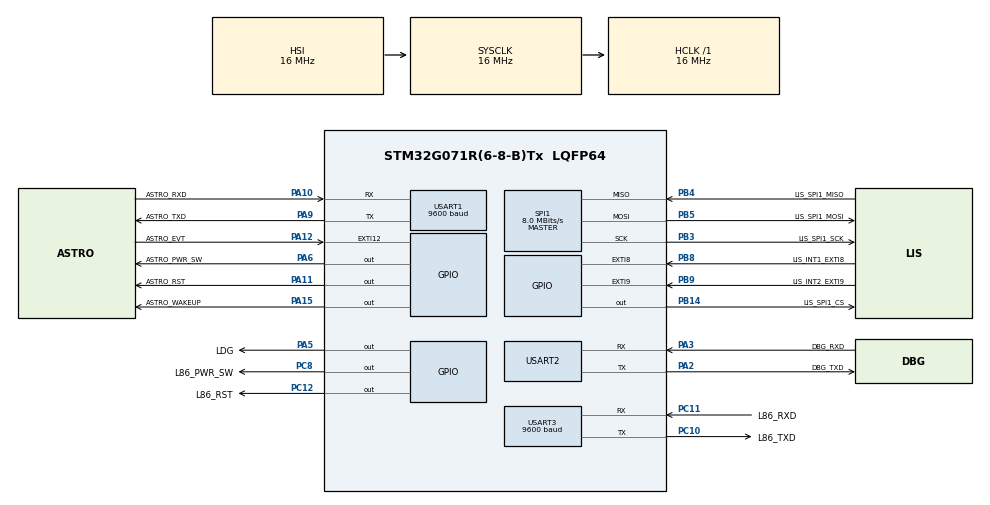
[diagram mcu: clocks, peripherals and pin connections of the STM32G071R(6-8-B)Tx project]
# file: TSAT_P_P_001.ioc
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Mcu.Family=STM32G0
Mcu.Name=STM32G071R(6-8-B)Tx
Mcu.Package=LQFP64
NVIC.EXTI4_15_IRQn=true\:1\:0\:true\:false\:true\:true\:true\:true
NVIC.TIM6_DAC_LPTIM1_IRQn=true\:0\:0\:false\:false\:true\:true\:true\:true
PA10.GPIO_Label=ASTRO_RXD
PA10.Mode=Asynchronous
PA10.Signal=USART1_RX
PA11\ [PA9].GPIO_Label=ASTRO_RST
PA11\ [PA9].Signal=GPIO_Output
PA12\ [PA10].GPIO_Label=ASTRO_EVT
PA12\ [PA10].Signal=GPXTI12
PA13.GPIO_Label=TMS
PA13.Mode=Serial_Wire
PA13.Signal=SYS_SWDIO
PA14-BOOT0.GPIO_Label=TCK
PA14-BOOT0.Mode=Serial_Wire
PA14-BOOT0.Signal=SYS_SWCLK
PA15.GPIO_Label=ASTRO_WAKEUP
PA15.Signal=GPIO_Output
PA2.GPIO_Label=DBG_TXD
PA2.GPIO_PuPd=GPIO_PULLUP
PA2.Mode=Asynchronous
PA2.Signal=USART2_TX
PA3.GPIO_Label=DBG_RXD
PA3.GPIO_PuPd=GPIO_PULLUP
PA3.Mode=Asynchronous
PA3.Signal=USART2_RX
PA5.GPIO_Label=LDG
PA5.GPIO_Speed=GPIO_SPEED_FREQ_LOW
PA5.Signal=GPIO_Output
PA6.GPIO_Label=ASTRO_PWR_SW
PA6.Signal=GPIO_Output
PA9.GPIO_Label=ASTRO_TXD
PA9.Mode=Asynchronous
PA9.Signal=USART1_TX
PB14.GPIO_Label=LIS_SPI1_CS
PB14.Signal=GPIO_Output
PB3.GPIO_Label=LIS_SPI1_SCK
PB3.Mode=Full_Duplex_Master
PB3.Signal=SPI1_SCK
PB4.GPIO_Label=LIS_SPI1_MISO
PB4.Mode=Full_Duplex_Master
PB4.Signal=SPI1_MISO
PB5.GPIO_Label=LIS_SPI1_MOSI
PB5.Mode=Full_Duplex_Master
PB5.Signal=SPI1_MOSI
PB8.GPIO_Label=LIS_INT1_EXTI8
PB8.Signal=GPXTI8
PB9.GPIO_Label=LIS_INT2_EXTI9
PB9.Signal=GPXTI9
PC10.GPIO_Label=L86_TXD
PC10.Mode=Asynchronous
PC10.Signal=USART3_TX
PC11.GPIO_Label=L86_RXD
PC11.Mode=Asynchronous
PC11.Signal=USART3_RX
PC12.GPIO_Label=L86_RST
PC12.PinState=GPIO_PIN_RESET
PC12.Signal=GPIO_Output
PC13.Mode=SYS_WakeUp1
PC13.Signal=SYS_WKUP2
PC14-OSC32_IN\ (PC14).Mode=LSE-External-Oscillator
PC14-OSC32_IN\ (PC14).Signal=RCC_OSC32_IN
PC15-OSC32_OUT\ (PC15).Mode=LSE-External-Oscillator
PC15-OSC32_OUT\ (PC15).Signal=RCC_OSC32_OUT
PC8.GPIO_Label=L86_PWR_SW
PC8.PinState=GPIO_PIN_RESET
PC8.Signal=GPIO_Output
PF0-OSC_IN\ (PF0).GPIO_Label=MCO
PF0-OSC_IN\ (PF0).Mode=HSE-External-Clock-Source
PF0-OSC_IN\ (PF0).Signal=RCC_OSC_IN
ProjectManager.HeapSize=0x200
ProjectManager.StackSize=0x400
ProjectManager.TargetToolchain=STM32CubeIDE
RCC.AHBFreq_Value=16000000
RCC.CortexFreq_Value=16000000
RCC.EXTERNAL_CLOCK_VALUE=12288000
RCC.HCLKFreq_Value=16000000
RCC.HSE_VALUE=8000000
RCC.HSI_VALUE=16000000
RCC.SYSCLKFreq_VALUE=16000000
RCC.VCOOutputFreq_Value=128000000
RTC.Alarm-Alarm\ A=RTC_ALARM_A
RTC.Date=1
RTC.Format=RTC_FORMAT_BIN
RTC.WeekDay=RTC_WEEKDAY_SATURDAY
RTC.Year=0
SPI1.CalculateBaudRate=8.0 MBits/s
SPI1.DataSize=SPI_DATASIZE_8BIT
SPI1.Direction=SPI_DIRECTION_2LINES
SPI1.Mode=SPI_MODE_MASTER
SPI1.VirtualType=VM_MASTER
TIM6.Period=1000-1
TIM6.Prescaler=16000-1
USART1.BaudRate=9600
USART1.VirtualMode-Asynchronous=VM_ASYNC
USART2.VirtualMode-Asynchronous=VM_ASYNC
USART3.BaudRate=9600
USART3.VirtualMode-Asynchronous=VM_ASYNC
VP_RTC_VS_RTC_Activate.Mode=RTC_Enabled
VP_RTC_VS_RTC_Alarm_A_Intern.Mode=Alarm A
VP_RTC_VS_RTC_Calendar.Mode=RTC_Calendar
VP_TIM6_VS_ClockSourceINT.Mode=Enable_Timer
board=NUCLEO-G071RB

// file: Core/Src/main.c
/* USER CODE BEGIN Header */
/**
  ******************************************************************************
  * @file           : main.c
  * @brief          : Main program body
  ******************************************************************************
  * @attention
  *
  * Copyright (c) 2023 STMicroelectronics.
  * All rights reserved.
  *
  * This software is licensed under terms that can be found in the LICENSE file
  * in the root directory of this software component.
  * If no LICENSE file comes with this software, it is provided AS-IS.
  *
  ******************************************************************************
  *
  ******************************************************************************
  */
/* USER CODE END Header */
#include "main.h"

/* USER CODE BEGIN PD */
#define NMEA_3D_FIX						'3'
#define NMEA_MESSAGE_SIZE				250

/* USER CODE END PD */

RTC_HandleTypeDef hrtc;

SPI_HandleTypeDef hspi1;

TIM_HandleTypeDef htim6;

UART_HandleTypeDef huart1;
UART_HandleTypeDef huart2;
UART_HandleTypeDef huart3;

/* USER CODE BEGIN PV */
char* 		hello = "\nHello TSAT_P_P_001\n\n" ;
char		dbg_buff[100] ;
char		rtc_dt_s[20] ;
uint32_t	current_ts = 0 ;

// Lx6
int32_t		astro_geo_wr_latitude ;
int32_t		astro_geo_wr_longitude ;
double		nmea_pdop_ths = PDOP_THS ;
uint16_t	my_lx6_gnss_active_time_ths = GNSS_ACTIVE_TIME_THS ; // Powinien być ten sam typ co tim_seconds // 240: 4 min.,
double 		nmea_fixed_pdop_d = 101 ;
char 		nmea_fixed_pdop_s[NMEA_FIX_PDOP_STRING_BUFF_SIZE] = {0} ; // 4 znaki wartości i kropka XX.X + '\0'
uint32_t	last_fix_ts = 0 ; // 0 timestamp (ts) is 1970.01.01 00:00:00

// TIM
uint16_t	tim_seconds = 0 ; // Powinien być ten sam typ co my_lx6_gnss_active_time_ths
uint32_t	agg_tim_gnss_seconds = 0 ;

// Astrocast
uint32_t	astro_log_loop_timer = 0 ;
uint16_t	astro_payload_id_counter = 1 ;
char		payload[ASTRONODE_APP_PAYLOAD_MAX_LEN_BYTES] = {0}; // 160 bajtów
char 		astro_payload_log[ASTRONODE_APP_PAYLOAD_MAX_LEN_BYTES+21] ; // Nagłowek + 12 + ew. znak minus + '\0'

// ACC
stmdev_ctx_t my_lis2dw12_ctx ;

// RTC
RTC_TimeTypeDef rtc_t ;
RTC_DateTypeDef rtc_d ;

// Flags
bool		is_system_already_initialized = false ; // Recognize if system has successful GNSS contact and has real time, Based on rtc settings.
bool		is_acc_int1_wkup_flag = false ;
bool		is_astro_evt_flag = false ;
bool		is_rtc_alarm_a_flag = false ;
/* USER CODE END PV */

void SystemClock_Config(void);
static void MX_GPIO_Init(void);
static void MX_USART2_UART_Init(void);
static void MX_USART1_UART_Init(void);
static void MX_USART3_UART_Init(void);
static void MX_TIM6_Init(void);
static void MX_RTC_Init(void);
static void MX_SPI1_Init(void);

int main(void)
{

  /* MCU Configuration--------------------------------------------------------*/

  /* Reset of all peripherals, Initializes the Flash interface and the Systick. */
  HAL_Init();

  /* Configure the system clock */
  SystemClock_Config();

  /* Initialize all configured peripherals */
  MX_GPIO_Init();
  MX_USART2_UART_Init();
  MX_USART1_UART_Init();
  MX_USART3_UART_Init();
  MX_TIM6_Init();
  MX_RTC_Init();
  MX_SPI1_Init();
  /* USER CODE BEGIN 2 */

  // System hello
  HAL_UART_Transmit ( &huart2 , (uint8_t*) hello , strlen (hello) , UART_TIMEOUT ) ;
  __HAL_TIM_CLEAR_IT ( &htim6 , TIM_IT_UPDATE ) ;

  // Is system initialized?
  send_debug_logs ( "Start initialization process" ) ;
  if ( ! is_system_initialized () )
  {
	  // ASTRO INIT
	  if ( !my_astro_init () )
	  {
		  HAL_NVIC_SystemReset () ;
	  }

	  // ACC INIT
	  my_lis2dw12_ctx.write_reg = my_lis2dw12_platform_write ;
	  my_lis2dw12_ctx.read_reg = my_lis2dw12_platform_read ;
	  my_lis2dw12_ctx.handle = HSPI1 ;
	  my_lis2dw12_init ( &my_lis2dw12_ctx ) ;

	  // RTC INIT
  }

  // Preparation process
  send_debug_logs ( "Start preparation process" ) ;
  while ( !enqueue_hello_payload () )
  {
	  my_lis2dw12_int1_wu_enable ( &my_lis2dw12_ctx ) ;
	  send_debug_logs ( "main.c - preparation sm: Enter STOPMode during preparation process" ) ;
	  HAL_SuspendTick () ; // Jak nie wyłączę to mnie przerwanie SysTick od razu wybudzi!!!
	  HAL_PWR_EnterSTOPMode ( PWR_LOWPOWERREGULATOR_ON , PWR_STOPENTRY_WFE ) ;
	  HAL_ResumeTick () ;
	  if ( is_acc_int1_wkup_flag )
	  {
		  send_debug_logs ( "main.c - preparation sm: lis2dw12_int1 wake up after STOPMode" ) ;
		  // Turn off next int1_wkups for the end of procedure
		  my_lis2dw12_int1_wu_disable ( &my_lis2dw12_ctx ) ;
		  is_acc_int1_wkup_flag = false ;
		  HAL_Delay ( 500 ) ; // docelowo 2000
	  }
	  my_lis2dw12_int1_wu_enable ( &my_lis2dw12_ctx ) ;
	  //break ; // Comment it later! It's only necessary for indoor test
  }
  // Ciągle w ramach preparation process otrzyaj chociaż 1 potwierdzenie wysłania wiadomosci, żeby Astro miało czas rtc do NCO
  // Poniżej zrób kod do tego

  // TEST STOP SYSTEM
  /*
  HAL_SuspendTick () ; // Jak nie wyłączę to mnie przerwanie SysTick od razu wybudzi!!!
  HAL_PWR_EnterSTOPMode ( PWR_LOWPOWERREGULATOR_ON , PWR_STOPENTRY_WFE ) ;
  HAL_ResumeTick () ;
  my_lis2dw12_int1_wu_disable ( &my_lis2dw12_ctx ) ;
  */

  /* USER CODE END 2 */

  /* Infinite loop */
  /* USER CODE BEGIN WHILE */

  // RUNNING STATE MACHINE
  while ( 1 )
  {
	  if ( is_evt_pin_high() )
	  {
		  send_debug_logs ( "main.c - running sm: is_evt_pin_high" ) ;
		  my_astro_read_evt_reg () ;
	  }
	  else
	  {
		  send_debug_logs ( "main.c - running sm: no is_evt_pin_high" ) ;
		  send_debug_logs ( "main.c - preparation sm: Enter STOPMode during preparation process" ) ;
		  HAL_SuspendTick () ; // Jak nie wyłączę to mnie przerwanie SysTick od razu wybudzi!!!
		  HAL_PWR_EnterSTOPMode ( PWR_LOWPOWERREGULATOR_ON , PWR_STOPENTRY_WFE ) ;
		  HAL_ResumeTick () ;
	  }
	  if ( is_astro_evt_flag )
	  {
		  send_debug_logs ( "main.c - running sm: is_astro_evt_flag" ) ;
		  my_astro_read_evt_reg () ;
		  is_astro_evt_flag = false ;
	  }
	  if ( is_acc_int1_wkup_flag )
	  {
		  // Turn off next int1_wkups for the end of procedure
		  my_lis2dw12_int1_wu_disable ( &my_lis2dw12_ctx ) ;
		  is_acc_int1_wkup_flag = false ;

		  send_debug_logs ( "main.c - running sm: lis2dw12_int1 wake up after STOPMode" ) ;
		  my_astro_log ();

		  my_rtc_get_dt ( &rtc_d , &rtc_t ) ;
		  current_ts = my_conv_rtc2timestamp ( &rtc_d , &rtc_t ) ;
		  /*
		  dbg_buff[0] = 0 ;
		  sprintf ( dbg_buff , "Seconds elapsed from last fix: %lu" , current_ts - last_fix_ts ) ;
		  send_debug_logs ( dbg_buff ) ;
		  */
		  if ( ( current_ts - last_fix_ts ) > SECONDS_IN_1_HOUR ) // If more than 1 hour has elapsed from last fix.
		  {
			  if ( astronode_send_rtc_rr () && !astronode_send_nco_rr () ) // If Astro's RC know time and has opportunity to contact SV
			  {
				  enqueue_payload () ;
			  }
		  }
		  // Turn on int1_wkup
		  my_astro_log ();
		  my_lis2dw12_int1_wu_enable ( &my_lis2dw12_ctx ) ;
	  }
	  if ( is_rtc_alarm_a_flag )
	  {
		  send_debug_logs ( "main.c - running sm: rtc alarm A event" ) ;
		  enqueue_payload () ;
		  my_astro_log () ;
		  my_rtc_set_alarm ( SECONDS_IN_1_HOUR ) ;
		  is_rtc_alarm_a_flag = false ;
	  }
	  //HAL_GPIO_ReadPin ( GPIOB , LIS_INT1_EXTI8_Pin ) ;
	  //dbg_buff[0] = 0 ;
	  //sprintf ( dbg_buff , "INT status on LIS_INT1_EXTI8_Pin: %d!\n" , HAL_GPIO_ReadPin ( GPIOB , LIS_INT1_EXTI8_Pin ) ) ;
	  //send_debug_logs ( dbg_buff ) ;

    /* USER CODE END WHILE */

  }
}

void SystemClock_Config(void)
{
  RCC_OscInitTypeDef RCC_OscInitStruct = {0};
  RCC_ClkInitTypeDef RCC_ClkInitStruct = {0};

  /** Configure the main internal regulator output voltage
  */
  HAL_PWREx_ControlVoltageScaling(PWR_REGULATOR_VOLTAGE_SCALE1);

  /** Initializes the RCC Oscillators according to the specified parameters
  * in the RCC_OscInitTypeDef structure.
  */
  RCC_OscInitStruct.OscillatorType = RCC_OSCILLATORTYPE_HSI|RCC_OSCILLATORTYPE_LSI;
  RCC_OscInitStruct.HSIState = RCC_HSI_ON;
  RCC_OscInitStruct.HSIDiv = RCC_HSI_DIV1;
  RCC_OscInitStruct.HSICalibrationValue = RCC_HSICALIBRATION_DEFAULT;
  RCC_OscInitStruct.LSIState = RCC_LSI_ON;
  RCC_OscInitStruct.PLL.PLLState = RCC_PLL_NONE;
  if (HAL_RCC_OscConfig(&RCC_OscInitStruct) != HAL_OK)
  {
    Error_Handler();
  }

  /** Initializes the CPU, AHB and APB buses clocks
  */
  RCC_ClkInitStruct.ClockType = RCC_CLOCKTYPE_HCLK|RCC_CLOCKTYPE_SYSCLK
                              |RCC_CLOCKTYPE_PCLK1;
  RCC_ClkInitStruct.SYSCLKSource = RCC_SYSCLKSOURCE_HSI;
  RCC_ClkInitStruct.AHBCLKDivider = RCC_SYSCLK_DIV1;
  RCC_ClkInitStruct.APB1CLKDivider = RCC_HCLK_DIV1;

  if (HAL_RCC_ClockConfig(&RCC_ClkInitStruct, FLASH_LATENCY_0) != HAL_OK)
  {
    Error_Handler();
  }
}

static void MX_RTC_Init(void)
{

  RTC_TimeTypeDef sTime = {0};
  RTC_DateTypeDef sDate = {0};
  RTC_AlarmTypeDef sAlarm = {0};

  /** Initialize RTC Only
  */
  hrtc.Instance = RTC;
  hrtc.Init.HourFormat = RTC_HOURFORMAT_24;
  hrtc.Init.AsynchPrediv = 127;
  hrtc.Init.SynchPrediv = 255;
  hrtc.Init.OutPut = RTC_OUTPUT_DISABLE;
  hrtc.Init.OutPutRemap = RTC_OUTPUT_REMAP_NONE;
  hrtc.Init.OutPutPolarity = RTC_OUTPUT_POLARITY_HIGH;
  hrtc.Init.OutPutType = RTC_OUTPUT_TYPE_OPENDRAIN;
  hrtc.Init.OutPutPullUp = RTC_OUTPUT_PULLUP_NONE;
  if (HAL_RTC_Init(&hrtc) != HAL_OK)
  {
    Error_Handler();
  }

  /** Initialize RTC and set the Time and Date
  */
  sTime.Hours = 0;
  sTime.Minutes = 0;
  sTime.Seconds = 0;
  sTime.SubSeconds = 0;
  sTime.DayLightSaving = RTC_DAYLIGHTSAVING_NONE;
  sTime.StoreOperation = RTC_STOREOPERATION_RESET;
  if (HAL_RTC_SetTime(&hrtc, &sTime, RTC_FORMAT_BIN) != HAL_OK)
  {
    Error_Handler();
  }
  sDate.WeekDay = RTC_WEEKDAY_SATURDAY;
  sDate.Month = RTC_MONTH_JANUARY;
  sDate.Date = 1;
  sDate.Year = 0;

  if (HAL_RTC_SetDate(&hrtc, &sDate, RTC_FORMAT_BIN) != HAL_OK)
  {
    Error_Handler();
  }

  /** Enable the Alarm A
  */
  sAlarm.AlarmTime.Hours = 0;
  sAlarm.AlarmTime.Minutes = 0;
  sAlarm.AlarmTime.Seconds = 0;
  sAlarm.AlarmTime.SubSeconds = 0;
  sAlarm.AlarmTime.DayLightSaving = RTC_DAYLIGHTSAVING_NONE;
  sAlarm.AlarmTime.StoreOperation = RTC_STOREOPERATION_RESET;
  sAlarm.AlarmMask = RTC_ALARMMASK_NONE;
  sAlarm.AlarmSubSecondMask = RTC_ALARMSUBSECONDMASK_ALL;
  sAlarm.AlarmDateWeekDaySel = RTC_ALARMDATEWEEKDAYSEL_DATE;
  sAlarm.AlarmDateWeekDay = 1;
  sAlarm.Alarm = RTC_ALARM_A;
  if (HAL_RTC_SetAlarm(&hrtc, &sAlarm, RTC_FORMAT_BIN) != HAL_OK)
  {
    Error_Handler();
  }

}

static void MX_SPI1_Init(void)
{

  /* SPI1 parameter configuration*/
  hspi1.Instance = SPI1;
  hspi1.Init.Mode = SPI_MODE_MASTER;
  hspi1.Init.Direction = SPI_DIRECTION_2LINES;
  hspi1.Init.DataSize = SPI_DATASIZE_8BIT;
  hspi1.Init.CLKPolarity = SPI_POLARITY_LOW;
  hspi1.Init.CLKPhase = SPI_PHASE_1EDGE;
  hspi1.Init.NSS = SPI_NSS_SOFT;
  hspi1.Init.BaudRatePrescaler = SPI_BAUDRATEPRESCALER_2;
  hspi1.Init.FirstBit = SPI_FIRSTBIT_MSB;
  hspi1.Init.TIMode = SPI_TIMODE_DISABLE;
  hspi1.Init.CRCCalculation = SPI_CRCCALCULATION_DISABLE;
  hspi1.Init.CRCPolynomial = 7;
  hspi1.Init.CRCLength = SPI_CRC_LENGTH_DATASIZE;
  hspi1.Init.NSSPMode = SPI_NSS_PULSE_ENABLE;
  if (HAL_SPI_Init(&hspi1) != HAL_OK)
  {
    Error_Handler();
  }

}

static void MX_TIM6_Init(void)
{

  TIM_MasterConfigTypeDef sMasterConfig = {0};

  htim6.Instance = TIM6;
  htim6.Init.Prescaler = 16000-1;
  htim6.Init.CounterMode = TIM_COUNTERMODE_UP;
  htim6.Init.Period = 1000-1;
  htim6.Init.AutoReloadPreload = TIM_AUTORELOAD_PRELOAD_DISABLE;
  if (HAL_TIM_Base_Init(&htim6) != HAL_OK)
  {
    Error_Handler();
  }
  sMasterConfig.MasterOutputTrigger = TIM_TRGO_RESET;
  sMasterConfig.MasterSlaveMode = TIM_MASTERSLAVEMODE_DISABLE;
  if (HAL_TIMEx_MasterConfigSynchronization(&htim6, &sMasterConfig) != HAL_OK)
  {
    Error_Handler();
  }

}

static void MX_USART1_UART_Init(void)
{

  huart1.Instance = USART1;
  huart1.Init.BaudRate = 9600;
  huart1.Init.WordLength = UART_WORDLENGTH_8B;
  huart1.Init.StopBits = UART_STOPBITS_1;
  huart1.Init.Parity = UART_PARITY_NONE;
  huart1.Init.Mode = UART_MODE_TX_RX;
  huart1.Init.HwFlowCtl = UART_HWCONTROL_NONE;
  huart1.Init.OverSampling = UART_OVERSAMPLING_16;
  huart1.Init.OneBitSampling = UART_ONE_BIT_SAMPLE_DISABLE;
  huart1.Init.ClockPrescaler = UART_PRESCALER_DIV1;
  huart1.AdvancedInit.AdvFeatureInit = UART_ADVFEATURE_NO_INIT;
  if (HAL_UART_Init(&huart1) != HAL_OK)
  {
    Error_Handler();
  }
  if (HAL_UARTEx_SetTxFifoThreshold(&huart1, UART_TXFIFO_THRESHOLD_1_8) != HAL_OK)
  {
    Error_Handler();
  }
  if (HAL_UARTEx_SetRxFifoThreshold(&huart1, UART_RXFIFO_THRESHOLD_1_8) != HAL_OK)
  {
    Error_Handler();
  }
  if (HAL_UARTEx_DisableFifoMode(&huart1) != HAL_OK)
  {
    Error_Handler();
  }

}

static void MX_USART2_UART_Init(void)
{

  huart2.Instance = USART2;
  huart2.Init.BaudRate = 115200;
  huart2.Init.WordLength = UART_WORDLENGTH_8B;
  huart2.Init.StopBits = UART_STOPBITS_1;
  huart2.Init.Parity = UART_PARITY_NONE;
  huart2.Init.Mode = UART_MODE_TX_RX;
  huart2.Init.HwFlowCtl = UART_HWCONTROL_NONE;
  huart2.Init.OverSampling = UART_OVERSAMPLING_16;
  huart2.Init.OneBitSampling = UART_ONE_BIT_SAMPLE_DISABLE;
  huart2.Init.ClockPrescaler = UART_PRESCALER_DIV1;
  huart2.AdvancedInit.AdvFeatureInit = UART_ADVFEATURE_NO_INIT;
  if (HAL_UART_Init(&huart2) != HAL_OK)
  {
    Error_Handler();
  }
  if (HAL_UARTEx_SetTxFifoThreshold(&huart2, UART_TXFIFO_THRESHOLD_1_8) != HAL_OK)
  {
    Error_Handler();
  }
  if (HAL_UARTEx_SetRxFifoThreshold(&huart2, UART_RXFIFO_THRESHOLD_1_8) != HAL_OK)
  {
    Error_Handler();
  }
  if (HAL_UARTEx_DisableFifoMode(&huart2) != HAL_OK)
  {
    Error_Handler();
  }

}

static void MX_USART3_UART_Init(void)
{

  huart3.Instance = USART3;
  huart3.Init.BaudRate = 9600;
  huart3.Init.WordLength = UART_WORDLENGTH_8B;
  huart3.Init.StopBits = UART_STOPBITS_1;
  huart3.Init.Parity = UART_PARITY_NONE;
  huart3.Init.Mode = UART_MODE_TX_RX;
  huart3.Init.HwFlowCtl = UART_HWCONTROL_NONE;
  huart3.Init.OverSampling = UART_OVERSAMPLING_16;
  huart3.Init.OneBitSampling = UART_ONE_BIT_SAMPLE_DISABLE;
  huart3.Init.ClockPrescaler = UART_PRESCALER_DIV1;
  huart3.AdvancedInit.AdvFeatureInit = UART_ADVFEATURE_NO_INIT;
  if (HAL_UART_Init(&huart3) != HAL_OK)
  {
    Error_Handler();
  }

}

static void MX_GPIO_Init(void)
{
  GPIO_InitTypeDef GPIO_InitStruct = {0};

  /* GPIO Ports Clock Enable */
  __HAL_RCC_GPIOC_CLK_ENABLE();
  __HAL_RCC_GPIOF_CLK_ENABLE();
  __HAL_RCC_GPIOA_CLK_ENABLE();
  __HAL_RCC_GPIOB_CLK_ENABLE();

  /*Configure GPIO pin Output Level */
  HAL_GPIO_WritePin(GPIOC, L86_RST_Pin|L86_PWR_SW_Pin, GPIO_PIN_RESET);

  /*Configure GPIO pin Output Level */
  HAL_GPIO_WritePin(GPIOA, LDG_Pin|ASTRO_PWR_SW_Pin|ASTRO_RST_Pin|ASTRO_WAKEUP_Pin, GPIO_PIN_RESET);

  /*Configure GPIO pin Output Level */
  HAL_GPIO_WritePin(LIS_SPI1_CS_GPIO_Port, LIS_SPI1_CS_Pin, GPIO_PIN_RESET);

  /*Configure GPIO pins : L86_RST_Pin L86_PWR_SW_Pin */
  GPIO_InitStruct.Pin = L86_RST_Pin|L86_PWR_SW_Pin;
  GPIO_InitStruct.Mode = GPIO_MODE_OUTPUT_PP;
  GPIO_InitStruct.Pull = GPIO_NOPULL;
  GPIO_InitStruct.Speed = GPIO_SPEED_FREQ_LOW;
  HAL_GPIO_Init(GPIOC, &GPIO_InitStruct);

  /*Configure GPIO pins : LDG_Pin ASTRO_PWR_SW_Pin ASTRO_RST_Pin ASTRO_WAKEUP_Pin */
  GPIO_InitStruct.Pin = LDG_Pin|ASTRO_PWR_SW_Pin|ASTRO_RST_Pin|ASTRO_WAKEUP_Pin;
  GPIO_InitStruct.Mode = GPIO_MODE_OUTPUT_PP;
  GPIO_InitStruct.Pull = GPIO_NOPULL;
  GPIO_InitStruct.Speed = GPIO_SPEED_FREQ_LOW;
  HAL_GPIO_Init(GPIOA, &GPIO_InitStruct);

  /*Configure GPIO pin : LIS_SPI1_CS_Pin */
  GPIO_InitStruct.Pin = LIS_SPI1_CS_Pin;
  GPIO_InitStruct.Mode = GPIO_MODE_OUTPUT_PP;
  GPIO_InitStruct.Pull = GPIO_NOPULL;
  GPIO_InitStruct.Speed = GPIO_SPEED_FREQ_LOW;
  HAL_GPIO_Init(LIS_SPI1_CS_GPIO_Port, &GPIO_InitStruct);

  /*Configure GPIO pin : ASTRO_EVT_Pin */
  GPIO_InitStruct.Pin = ASTRO_EVT_Pin;
  GPIO_InitStruct.Mode = GPIO_MODE_IT_RISING;
  GPIO_InitStruct.Pull = GPIO_NOPULL;
  HAL_GPIO_Init(ASTRO_EVT_GPIO_Port, &GPIO_InitStruct);

  /*Configure GPIO pins : LIS_INT1_EXTI8_Pin LIS_INT2_EXTI9_Pin */
  GPIO_InitStruct.Pin = LIS_INT1_EXTI8_Pin|LIS_INT2_EXTI9_Pin;
  GPIO_InitStruct.Mode = GPIO_MODE_IT_RISING;
  GPIO_InitStruct.Pull = GPIO_NOPULL;
  HAL_GPIO_Init(GPIOB, &GPIO_InitStruct);

  /* EXTI interrupt init*/
  HAL_NVIC_SetPriority(EXTI4_15_IRQn, 1, 0);
  HAL_NVIC_EnableIRQ(EXTI4_15_IRQn);

}

/* USER CODE BEGIN 4 */
bool enqueue_payload ( void )
{
	astro_geo_wr_latitude = 0 ;
	astro_geo_wr_longitude = 0 ;
	if ( my_lx6_get_coordinates ( my_lx6_gnss_active_time_ths , nmea_pdop_ths , &nmea_fixed_pdop_d , &astro_geo_wr_latitude , &astro_geo_wr_longitude ) )
	{
		my_astro_write_coordinates ( astro_geo_wr_latitude , astro_geo_wr_longitude ) ;

		// Update ts of last fix
		my_rtc_get_dt ( &rtc_d , &rtc_t ) ;
		last_fix_ts = my_conv_rtc2timestamp ( &rtc_d , &rtc_t ) ;

		dbg_buff[0] = 0 ;
		sprintf ( dbg_buff , "Last fix timestap: %lu" , last_fix_ts ) ;
		send_debug_logs ( dbg_buff ) ;

		my_rtc_get_time_s ( rtc_dt_s ) ;
		send_debug_logs ( rtc_dt_s ) ;

		if ( nmea_fixed_pdop_d < 100.0 )
		{
			snprintf ( nmea_fixed_pdop_s , NMEA_FIX_PDOP_STRING_BUFF_SIZE , "%.1f", nmea_fixed_pdop_d );
		}

		agg_tim_gnss_seconds = agg_tim_gnss_seconds + tim_seconds  ;

		sprintf ( payload , "%s,%d,%lu" , nmea_fixed_pdop_s , tim_seconds , agg_tim_gnss_seconds ) ;
		sprintf ( astro_payload_log , "Astronode payload: %s" , payload ) ;
		send_debug_logs ( astro_payload_log ) ;
		// astronode_send_pld_fr () ; // Don't clear entire payload queue because it's worth having a travel history, even if sent with delay.
		my_astro_add_payload_2_queue ( astro_payload_id_counter++ , payload ) ;
		if ( astro_payload_id_counter == 0 ) // Avoid id = 0 to avoid collision with control test payload that is always 0
		{
			astro_payload_id_counter++ ;
		}
		return true ;
	}

	return false ;
}

bool enqueue_hello_payload ( void )
{
	bool r = false ;
	const char* fv = "0.1.0" ;

	int32_t astro_geo_wr_latitude = 0 , astro_geo_wr_longitude = 0 ;

	if ( my_lx6_get_coordinates ( my_lx6_gnss_active_time_ths , nmea_pdop_ths , &nmea_fixed_pdop_d , &astro_geo_wr_latitude , &astro_geo_wr_longitude ) )
	{
		my_astro_write_coordinates ( astro_geo_wr_latitude , astro_geo_wr_longitude ) ;

		// Update ts of last fix
		my_rtc_get_dt ( &rtc_d , &rtc_t ) ;
		last_fix_ts = my_conv_rtc2timestamp ( &rtc_d , &rtc_t ) ;

		dbg_buff[0] = 0 ;
		sprintf ( dbg_buff , "Hello payload and first fix timestap: %lu" , last_fix_ts ) ;
		send_debug_logs ( dbg_buff ) ;

		my_rtc_get_time_s ( rtc_dt_s ) ;
		send_debug_logs ( rtc_dt_s ) ;

		snprintf ( nmea_fixed_pdop_s , NMEA_FIX_PDOP_STRING_BUFF_SIZE , "%.1f", nmea_fixed_pdop_d );

		agg_tim_gnss_seconds = agg_tim_gnss_seconds + tim_seconds  ;

		sprintf ( payload , "%s,%d,%lu;%s" , nmea_fixed_pdop_s , tim_seconds , agg_tim_gnss_seconds , fv ) ;
		sprintf ( astro_payload_log , "Astronode payload: %s" , payload ) ;
		send_debug_logs ( astro_payload_log ) ;
		// astronode_send_pld_fr () ; // Don't clear entire payload queue because it's worth having a travel history, even if sent with delay.
		my_astro_add_payload_2_queue ( 0 , payload ) ;

		return true ;
	}

	return r ;
}

void send_debug_logs ( char* p_tx_buffer )
{
    uint32_t length = strlen ( p_tx_buffer ) ;

    if ( length > UART_TX_MAX_BUFF_SIZE )
    {
        HAL_UART_Transmit ( HUART_DBG , ( uint8_t* ) "[ERROR] UART buffer reached max length.\n" , 42 , 1000 ) ;
        length = UART_TX_MAX_BUFF_SIZE;
    }

    HAL_UART_Transmit ( HUART_DBG , ( uint8_t* ) p_tx_buffer , length , 1000 ) ;
    HAL_UART_Transmit ( HUART_DBG , ( uint8_t* ) "\n" , 1 , 1000 ) ;
}
void reset_astronode ( void )
{
    HAL_GPIO_WritePin ( ASTRO_RST_GPIO_Port , ASTRO_RST_Pin , GPIO_PIN_SET ) ;
    HAL_Delay ( 1 ) ;
    HAL_GPIO_WritePin ( ASTRO_RST_GPIO_Port , ASTRO_RST_Pin , GPIO_PIN_RESET ) ;
    HAL_Delay ( 250 ) ;
}
void send_astronode_request ( uint8_t* p_tx_buffer , uint32_t length )
{
    send_debug_logs ( "Message sent to the Astronode --> " ) ;
    send_debug_logs ( ( char* ) p_tx_buffer ) ;

    HAL_UART_Transmit ( HUART_ASTRO , p_tx_buffer , length , 1000 ) ;
}
bool is_astronode_character_received ( uint8_t* p_rx_char )
{
    return ( HAL_UART_Receive ( HUART_ASTRO , p_rx_char , 1 , 100 ) == HAL_OK ? true : false ) ;
}
bool is_evt_pin_high ( void )
{
	return ( HAL_GPIO_ReadPin ( GPIOA , ASTRO_EVT_Pin ) == GPIO_PIN_SET ? true : false);
}

uint32_t get_systick ( void )
{
    return HAL_GetTick() ;
}
bool is_systick_timeout_over ( uint32_t starting_value , uint16_t duration )
{
    return ( get_systick () - starting_value > duration ) ? true : false ;
}
void my_ldg_on ( void )
{
	HAL_GPIO_WritePin ( GPIOA , LDG_Pin , GPIO_PIN_SET ) ;
}
void my_ldg_off ( void )
{
	HAL_GPIO_WritePin ( GPIOA , LDG_Pin , GPIO_PIN_RESET ) ;
}
void my_lx6_on ( void )
{
	HAL_GPIO_WritePin ( GPIOC , L86_PWR_SW_Pin , GPIO_PIN_SET ) ;
	HAL_GPIO_WritePin ( GPIOC , L86_RST_Pin , GPIO_PIN_SET ) ;
	MX_USART3_UART_Init () ;
}
void my_lx6_off ( void )
{
	HAL_GPIO_WritePin ( GPIOC , L86_PWR_SW_Pin , GPIO_PIN_RESET ) ;
	HAL_GPIO_WritePin ( GPIOC , L86_RST_Pin , GPIO_PIN_RESET ) ;
	HAL_UART_DeInit ( HUART_Lx6 ) ;
}
int32_t my_lis2dw12_platform_write ( void *handle , uint8_t reg , const uint8_t *bufp , uint16_t len )
{
	HAL_GPIO_WritePin	( LIS_SPI1_CS_GPIO_Port , LIS_SPI1_CS_Pin , GPIO_PIN_RESET ) ;
	HAL_Delay ( 20 ) ;
	HAL_SPI_Transmit	( handle , &reg , 1 , 1000 ) ;
	HAL_SPI_Transmit	( handle , (uint8_t*) bufp , len , 1000 ) ;
	HAL_GPIO_WritePin	( LIS_SPI1_CS_GPIO_Port , LIS_SPI1_CS_Pin , GPIO_PIN_SET) ;

	return 0;
}
int32_t my_lis2dw12_platform_read ( void *handle , uint8_t reg , uint8_t *bufp , uint16_t len )
{
	reg |= 0x80;
	HAL_GPIO_WritePin ( LIS_SPI1_CS_GPIO_Port , LIS_SPI1_CS_Pin , GPIO_PIN_RESET) ;
	HAL_Delay ( 20 ) ;
	HAL_SPI_Transmit ( handle , &reg , 1 , 1000 ) ;
	HAL_SPI_Receive ( handle , bufp , len , 1000 ) ;
	HAL_GPIO_WritePin ( LIS_SPI1_CS_GPIO_Port , LIS_SPI1_CS_Pin , GPIO_PIN_SET) ;

	return 0;
}
bool is_system_initialized ( void )
{
	uint16_t yyyy ;

	uint32_t commn_ts = astronode_send_rtc_rr () ;

	yyyy = my_rtc_get_time_s ( rtc_dt_s ) ;
	send_debug_logs ( rtc_dt_s ) ;
	if ( yyyy >= FIRMWARE_RELEASE_YEAR || commn_ts != 0 )
	{
		return true ;
	}
	return false ;
}

void HAL_TIM_PeriodElapsedCallback ( TIM_HandleTypeDef *htim )
{
	if ( htim->Instance == TIM6 )
	{
		tim_seconds++ ;
		if ( tim_seconds > TIM_SECONDS_THS_SYSTEM_RESET )
		  {
			  HAL_NVIC_SystemReset () ;
		  }
	}
}

void HAL_GPIO_EXTI_Rising_Callback ( uint16_t GPIO_Pin )
{
	if ( GPIO_Pin == 0x100 ) // LIS_INT1_EXTI8_Pin = 0x100
	{
		is_acc_int1_wkup_flag = true ;
		/*
		dbg_buff[0] = 0 ;
		sprintf ( dbg_buff , "INT on GPIO_Pin %04x detected!\n" , GPIO_Pin ) ;
		send_debug_logs ( dbg_buff ) ;
		*/
	}
	//zamiast poniższego może lepiej wrócić do pierwotnego przeglądania GPIO w trybie input bez przerwania
	if ( GPIO_Pin == 0x1000 ) // ASTRO_EVT_Pin = 0x1000
	{
		is_astro_evt_flag = true ;
	}
}
void HAL_RTC_AlarmAEventCallback ( RTC_HandleTypeDef *hrtc )
{
	is_rtc_alarm_a_flag = true ;
}

/* USER CODE END 4 */

void Error_Handler(void)
{
  __disable_irq();
  while (1)
  {
  }
}
